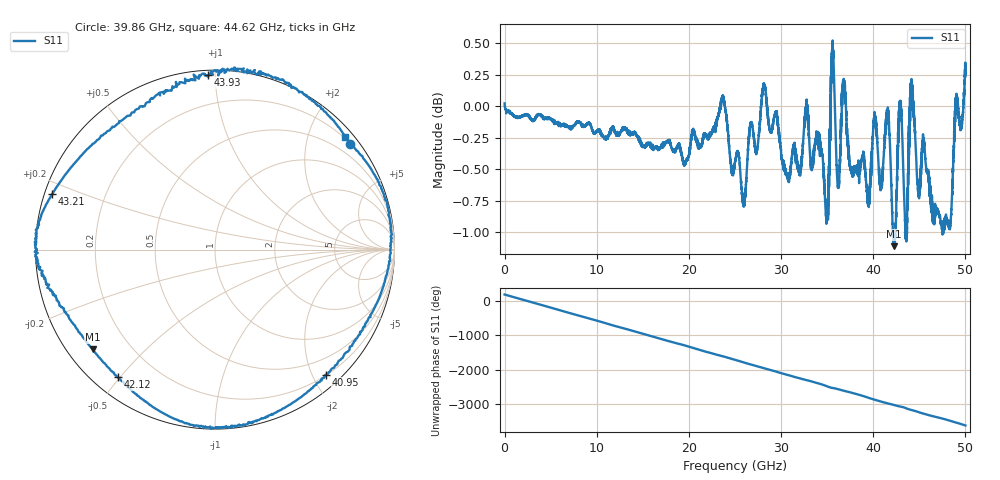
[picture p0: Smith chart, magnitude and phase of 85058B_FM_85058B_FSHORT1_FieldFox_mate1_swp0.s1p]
!Created with skrf (http://scikit-rf.org).
# Hz S RI R 50.0
!freq ReS11 ImS11
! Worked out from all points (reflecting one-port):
!   10000 points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, 5.3 MHz to 50 GHz, reference 50 ohm
!   lowest |S11| = -1.1 dB at 42.28 GHz (marker M1), VSWR 15.63, Z = 3.6 - j17.7 ohm
!   phase of S11 starts at 180 deg and turns -3791 deg over the sweep
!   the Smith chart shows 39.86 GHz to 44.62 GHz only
!   S11 on the Smith chart (normalised r, x): 39.86 GHz: 0.21, +2.89; 40.95 GHz: 0.21, -2.20; 42.12 GHz: 0.07, -0.49; 43.21 GHz: 0.02, +0.17; 43.93 GHz: 0.03, +0.96; 44.62 GHz: 0.16, +2.67
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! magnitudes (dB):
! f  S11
! 5.3 MHz  0.0
! 6.255 GHz  -0.1
! 12.51 GHz  -0.2
! 18.76 GHz  -0.3
! 23.68 GHz  0.1
! 25.01 GHz  -0.4
! 25.99 GHz  -0.8
! 28.15 GHz  0.2
! 31.26 GHz  -0.4
! 32.76 GHz  0.0
! 34.96 GHz  -0.9
! 35.62 GHz  0.5
! 36.16 GHz  -0.6
! 36.81 GHz  0.2
! 37.51 GHz  -0.5
! 39.86 GHz  -0.4
! 40.95 GHz  -0.6
! 41.58 GHz  -0.1
! 42.12 GHz  -1.0
! 42.28 GHz  -1.1
! 42.86 GHz  0.0
! 43.21 GHz  -0.4
! 43.76 GHz  -0.6
! 43.93 GHz  -0.2
! 44.62 GHz  -0.3
! 48.22 GHz  -0.9
! 48.99 GHz  0.1
! 50 GHz  0.3
